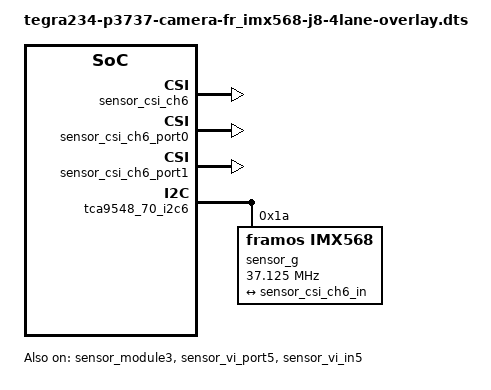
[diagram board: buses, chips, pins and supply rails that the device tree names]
// SPDX-License-Identifier: GPL-2.0
/*
 * Copyright (c) 2024 Framos. All rights reserved.
 *
 * tegra234-p3737-camera-fr_imx568-j8-4lane-overlay.dts - IMX412 sensor device tree
 */

/dts-v1/;
/plugin/;

#include <dt-bindings/clock/tegra234-clock.h>
#include <dt-bindings/gpio/tegra234-gpio.h>
#include <dt-bindings/tegra234-p3737-0000+p3701-0000.h>


/ {
	overlay-name = "Framos IMX568-J8-4Lane";
	jetson-header-name = "Jetson AGX CSI Connector";
	compatible = JETSON_COMPATIBLE;

	fragment@0 {
		target = <&sensor_module3>;
		__overlay__ {
			status = "okay";
			badge = "imx568_topright_framos";
			drivernode0 {
				status = "okay";
				/* Declare PCL support driver (classically known as guid) */
				devname = "imx568 15-001a";
				/* Declare the device-tree hierarchy to driver instance */
				sysfs-device-tree = "/sys/firmware/devicetree/base/bus@0/i2c@3180000/tca9548@70/i2c@6/imx568_g@1a";
			};
		};
	};

	fragment@1 {
		target = <&sensor_vi_port5>;
		__overlay__ {
			status = "okay";
		};
	};

	fragment@2 {
		target = <&sensor_vi_in5>;
		__overlay__ {
			status = "okay";
			bus-width = <4>;
		};
	};

	fragment@3 {
		target = <&sensor_csi_ch6>;
		__overlay__ {
			status = "okay";
			ports {
				status = "okay";
			};
		};
	};

	fragment@4 {
		target = <&sensor_csi_ch6_port0>;
		__overlay__ {
			status = "okay";
		};
	};

	fragment@5 {
		target = <&sensor_csi_ch6_in>;
		__overlay__ {
			status = "okay";
			bus-width = <4>;
			remote-endpoint = <&sensor_out_g>;
		};
	};

	fragment@6 {
		target = <&sensor_csi_ch6_port1>;
		__overlay__ {
			status = "okay";
		};
	};

	fragment@7 {
		target = <&sensor_csi_ch6_out>;
		__overlay__ {
			status = "okay";
		};
	};

	fragment@8 {
		target = <&tca9548_70_i2c6>;
		__overlay__ {
			sensor_g: imx568_g@1a {
				compatible = "framos,imx568";
				reg = <0x1a>;

				/* Define any required hw resources needed by driver */
				/* ie. clocks, io pins, power sources */
				clocks = <&bpmp TEGRA234_CLK_EXTPERIPH1>, <&bpmp TEGRA234_CLK_EXTPERIPH1>;
				clock-names = "extperiph1", "pllp_grtba";
				mclk = "extperiph1";
				clock-frequency = <37125000>;

				devnode = "video6";

				physical_w = "15.00";
				physical_h = "12.50";

				sensor_model ="imx568";

				/* Defines number of frames to be dropped by driver internally after applying */
				/* sensor crop settings. Some sensors send corrupt frames after applying */
				/* crop co-ordinates */
				post_crop_frame_drop = "0";

				/* Convert Gain to unit of dB (decibel) befor passing to kernel driver */
				use_decibel_gain = "true";

				/* if true, delay gain setting by one frame to be in sync with exposure */
				delayed_gain = "false";

				/* enable CID_SENSOR_MODE_ID for sensor modes selection */
				use_sensor_mode_id = "false";

				mode0 {
					mclk_khz = "37125";
					num_lanes = "4";
					tegra_sinterface = "serial_g";
					vc_id = "0";
					phy_mode = "DPHY";
					discontinuous_clk = "no";
					dpcm_enable = "false";
					cil_settletime = "0";
					active_w = "2472";
					active_h = "2064";

					dynamic_pixel_bit_depth = "12";
					csi_pixel_bit_depth = "12";
					mode_type = "bayer";
					pixel_phase = "rggb";

					readout_orientation = "0";
					line_length = "4512";
					inherent_gain = "1";
					pix_clk_hz = "475200000";
					serdes_pix_clk_hz = "12000000000";/* GMSL predefine */

					gain_factor = "10";
					min_gain_val = "0";/* 0dB */
					max_gain_val = "480";/* 48dB */
					step_gain_val = "1";/* 0.1 */
					default_gain = "0";
					min_hdr_ratio = "1";
					max_hdr_ratio = "1";
					framerate_factor = "1000000";
					min_framerate = "1500000";/* 1.5 */
					max_framerate = "67000000";/* 67 */
					step_framerate = "1";
					default_framerate= "67000000";
					exposure_factor = "1000000";
					min_exp_time = "10";/* us */
					step_exp_time = "1";
					max_exp_time = "660000";/* us */
					default_exp_time = "10000";/* us */
					embedded_metadata_height = "1";
				};
				mode1 {
					mclk_khz = "37125";
					num_lanes = "4";
					tegra_sinterface = "serial_g";
					vc_id = "0";
					phy_mode = "DPHY";
					discontinuous_clk = "no";
					dpcm_enable = "false";
					cil_settletime = "0";
					active_w = "1920";
					active_h = "1080";

					dynamic_pixel_bit_depth = "12";
					csi_pixel_bit_depth = "12";
					mode_type = "bayer";
					pixel_phase = "rggb";

					readout_orientation = "0";
					line_length = "4512";
					inherent_gain = "1";
					pix_clk_hz = "475200000";
					serdes_pix_clk_hz = "12000000000";/* GMSL predefine */

					gain_factor = "10";
					min_gain_val = "0";/* 0dB */
					max_gain_val = "480";/* 48dB */
					step_gain_val = "1";/* 0.1 */
					default_gain = "0";
					min_hdr_ratio = "1";
					max_hdr_ratio = "1";
					framerate_factor = "1000000";
					min_framerate = "1500000";/* 1.5 */
					max_framerate = "122000000";/* 122 */
					step_framerate = "1";
					default_framerate= "122000000";
					exposure_factor = "1000000";
					min_exp_time = "10";/* us */
					step_exp_time = "1";
					max_exp_time = "660000";/* us */
					default_exp_time = "10000";/* us */
					embedded_metadata_height = "1";
				};
				mode2 {
					mclk_khz = "37125";
					num_lanes = "4";
					tegra_sinterface = "serial_g";
					vc_id = "0";
					phy_mode = "DPHY";
					discontinuous_clk = "no";
					dpcm_enable = "false";
					cil_settletime = "0";
					active_w = "1280";
					active_h = "720";

					dynamic_pixel_bit_depth = "12";
					csi_pixel_bit_depth = "12";
					mode_type = "bayer";
					pixel_phase = "rggb";

					readout_orientation = "0";
					line_length = "4512";
					inherent_gain = "1";
					pix_clk_hz = "475200000";
					serdes_pix_clk_hz = "12000000000";/* GMSL predefine */

					gain_factor = "10";
					min_gain_val = "0";/* 0dB */
					max_gain_val = "480";/* 48dB */
					step_gain_val = "1";/* 0.1 */
					default_gain = "0";
					min_hdr_ratio = "1";
					max_hdr_ratio = "1";
					framerate_factor = "1000000";
					min_framerate = "1500000";/* 1.5 */
					max_framerate = "122000000";/* 122 */
					step_framerate = "1";
					default_framerate= "122000000";
					exposure_factor = "1000000";
					min_exp_time = "10";/* us */
					step_exp_time = "1";
					max_exp_time = "660000";/* us */
					default_exp_time = "10000";/* us */
					embedded_metadata_height = "1";
				};
				mode3 {
					mclk_khz = "37125";
					num_lanes = "4";
					tegra_sinterface = "serial_g";
					vc_id = "0";
					phy_mode = "DPHY";
					discontinuous_clk = "no";
					dpcm_enable = "false";
					cil_settletime = "0";
					active_w = "1236";
					active_h = "1032";

					dynamic_pixel_bit_depth = "12";
					csi_pixel_bit_depth = "12";
					mode_type = "bayer";
					pixel_phase = "rggb";

					readout_orientation = "0";
					line_length = "4512";
					inherent_gain = "1";
					pix_clk_hz = "475200000";
					serdes_pix_clk_hz = "12000000000";/* GMSL predefine */

					gain_factor = "10";
					min_gain_val = "0";/* 0dB */
					max_gain_val = "480";/* 48dB */
					step_gain_val = "1";/* 0.1 */
					default_gain = "0";
					min_hdr_ratio = "1";
					max_hdr_ratio = "1";
					framerate_factor = "1000000";
					min_framerate = "1500000";/* 1.5 */
					max_framerate = "233000000";/* 233 */
					step_framerate = "1";
					default_framerate= "233000000";
					exposure_factor = "1000000";
					min_exp_time = "7";/* us */
					step_exp_time = "1";
					max_exp_time = "660000";/* us */
					default_exp_time = "10000";/* us */
					embedded_metadata_height = "1";
				};
				mode4 {
					mclk_khz = "37125";
					num_lanes = "4";
					tegra_sinterface = "serial_g";
					vc_id = "0";
					phy_mode = "DPHY";
					discontinuous_clk = "no";
					dpcm_enable = "false";
					cil_settletime = "0";
					active_w = "2472";
					active_h = "2064";

					dynamic_pixel_bit_depth = "10";
					csi_pixel_bit_depth = "10";
					mode_type = "bayer";
					pixel_phase = "rggb";

					readout_orientation = "0";
					line_length = "4512";
					inherent_gain = "1";
					pix_clk_hz = "475200000";
					serdes_pix_clk_hz = "12000000000";/* GMSL predefine */

					gain_factor = "10";
					min_gain_val = "0";/* 0dB */
					max_gain_val = "480";/* 48dB */
					step_gain_val = "1";/* 0.1 */
					default_gain = "0";
					min_hdr_ratio = "1";
					max_hdr_ratio = "1";
					framerate_factor = "1000000";
					min_framerate = "1500000";/* 1.5 */
					max_framerate = "79000000";/* 79 */
					step_framerate = "1";
					default_framerate= "79000000";
					exposure_factor = "1000000";
					min_exp_time = "9";/* us */
					step_exp_time = "1";
					max_exp_time = "660000";/* us */
					default_exp_time = "10000";/* us */
					embedded_metadata_height = "1";
				};
				mode5 {
					mclk_khz = "37125";
					num_lanes = "4";
					tegra_sinterface = "serial_g";
					vc_id = "0";
					phy_mode = "DPHY";
					discontinuous_clk = "no";
					dpcm_enable = "false";
					cil_settletime = "0";
					active_w = "1920";
					active_h = "1080";

					dynamic_pixel_bit_depth = "10";
					csi_pixel_bit_depth = "10";
					mode_type = "bayer";
					pixel_phase = "rggb";

					readout_orientation = "0";
					line_length = "4512";
					inherent_gain = "1";
					pix_clk_hz = "475200000";
					serdes_pix_clk_hz = "12000000000";/* GMSL predefine */

					gain_factor = "10";
					min_gain_val = "0";/* 0dB */
					max_gain_val = "480";/* 48dB */
					step_gain_val = "1";/* 0.1 */
					default_gain = "0";
					min_hdr_ratio = "1";
					max_hdr_ratio = "1";
					framerate_factor = "1000000";
					min_framerate = "1500000";/* 1.5 */
					max_framerate = "143000000";/* 143 */
					step_framerate = "1";
					default_framerate= "143000000";
					exposure_factor = "1000000";
					min_exp_time = "9";/* us */
					step_exp_time = "1";
					max_exp_time = "660000";/* us */
					default_exp_time = "10000";/* us */
					embedded_metadata_height = "1";
				};
				mode6 {
					mclk_khz = "37125";
					num_lanes = "4";
					tegra_sinterface = "serial_g";
					vc_id = "0";
					phy_mode = "DPHY";
					discontinuous_clk = "no";
					dpcm_enable = "false";
					cil_settletime = "0";
					active_w = "1280";
					active_h = "720";

					dynamic_pixel_bit_depth = "10";
					csi_pixel_bit_depth = "10";
					mode_type = "bayer";
					pixel_phase = "rggb";

					readout_orientation = "0";
					line_length = "4512";
					inherent_gain = "1";
					pix_clk_hz = "475200000";
					serdes_pix_clk_hz = "12000000000";/* GMSL predefine */

					gain_factor = "10";
					min_gain_val = "0";/* 0dB */
					max_gain_val = "480";/* 48dB */
					step_gain_val = "1";/* 0.1 */
					default_gain = "0";
					min_hdr_ratio = "1";
					max_hdr_ratio = "1";
					framerate_factor = "1000000";
					min_framerate = "1500000";/* 1.5 */
					max_framerate = "143000000";/* 143 */
					step_framerate = "1";
					default_framerate= "143000000";
					exposure_factor = "1000000";
					min_exp_time = "9";/* us */
					step_exp_time = "1";
					max_exp_time = "660000";/* us */
					default_exp_time = "10000";/* us */
					embedded_metadata_height = "1";
				};
				mode7 {
					mclk_khz = "37125";
					num_lanes = "4";
					tegra_sinterface = "serial_g";
					vc_id = "0";
					phy_mode = "DPHY";
					discontinuous_clk = "no";
					dpcm_enable = "false";
					cil_settletime = "0";
					active_w = "1236";
					active_h = "1032";

					dynamic_pixel_bit_depth = "10";
					csi_pixel_bit_depth = "10";
					mode_type = "bayer";
					pixel_phase = "rggb";

					readout_orientation = "0";
					line_length = "4512";
					inherent_gain = "1";
					pix_clk_hz = "475200000";
					serdes_pix_clk_hz = "12000000000";/* GMSL predefine */

					gain_factor = "10";
					min_gain_val = "0";/* 0dB */
					max_gain_val = "480";/* 48dB */
					step_gain_val = "1";/* 0.1 */
					default_gain = "0";
					min_hdr_ratio = "1";
					max_hdr_ratio = "1";
					framerate_factor = "1000000";
					min_framerate = "1500000";/* 1.5 */
					max_framerate = "268000000";/* 268 */
					step_framerate = "1";
					default_framerate= "268000000";
					exposure_factor = "1000000";
					min_exp_time = "6";/* us */
					step_exp_time = "1";
					max_exp_time = "660000";/* us */
					default_exp_time = "10000";/* us */
					embedded_metadata_height = "1";
				};
				mode8 {
					mclk_khz = "37125";
					num_lanes = "4";
					tegra_sinterface = "serial_g";
					vc_id = "0";
					phy_mode = "DPHY";
					discontinuous_clk = "no";
					dpcm_enable = "false";
					cil_settletime = "0";
					active_w = "2472";
					active_h = "2064";

					dynamic_pixel_bit_depth = "8";
					csi_pixel_bit_depth = "8";
					mode_type = "bayer";
					pixel_phase = "rggb";

					readout_orientation = "0";
					line_length = "4512";
					inherent_gain = "1";
					pix_clk_hz = "475200000";
					serdes_pix_clk_hz = "12000000000";/* GMSL predefine */

					gain_factor = "10";
					min_gain_val = "0";/* 0dB */
					max_gain_val = "480";/* 48dB */
					step_gain_val = "1";/* 0.1 */
					default_gain = "0";
					min_hdr_ratio = "1";
					max_hdr_ratio = "1";
					framerate_factor = "1000000";
					min_framerate = "1500000";/* 1.5 */
					max_framerate = "96000000";/* 96 */
					step_framerate = "1";
					default_framerate= "96000000";
					exposure_factor = "1000000";
					min_exp_time = "8";/* us */
					step_exp_time = "1";
					max_exp_time = "660000";/* us */
					default_exp_time = "10000";/* us */
					embedded_metadata_height = "1";
				};
				mode9 {
					mclk_khz = "37125";
					num_lanes = "4";
					tegra_sinterface = "serial_g";
					vc_id = "0";
					phy_mode = "DPHY";
					discontinuous_clk = "no";
					dpcm_enable = "false";
					cil_settletime = "0";
					active_w = "1920";
					active_h = "1080";

					dynamic_pixel_bit_depth = "8";
					csi_pixel_bit_depth = "8";
					mode_type = "bayer";
					pixel_phase = "rggb";

					readout_orientation = "0";
					line_length = "4512";
					inherent_gain = "1";
					pix_clk_hz = "475200000";
					serdes_pix_clk_hz = "12000000000";/* GMSL predefine */

					gain_factor = "10";
					min_gain_val = "0";/* 0dB */
					max_gain_val = "480";/* 48dB */
					step_gain_val = "1";/* 0.1 */
					default_gain = "0";
					min_hdr_ratio = "1";
					max_hdr_ratio = "1";
					framerate_factor = "1000000";
					min_framerate = "1500000";/* 1.5 */
					max_framerate = "173000000";/* 173 */
					step_framerate = "1";
					default_framerate= "17300000";
					exposure_factor = "1000000";
					min_exp_time = "8";/* us */
					step_exp_time = "1";
					max_exp_time = "660000";/* us */
					default_exp_time = "10000";/* us */
					embedded_metadata_height = "1";
				};
				mode10 {
					mclk_khz = "37125";
					num_lanes = "4";
					tegra_sinterface = "serial_g";
					vc_id = "0";
					phy_mode = "DPHY";
					discontinuous_clk = "no";
					dpcm_enable = "false";
					cil_settletime = "0";
					active_w = "1280";
					active_h = "720";

					dynamic_pixel_bit_depth = "8";
					csi_pixel_bit_depth = "8";
					mode_type = "bayer";
					pixel_phase = "rggb";

					readout_orientation = "0";
					line_length = "4512";
					inherent_gain = "1";
					pix_clk_hz = "475200000";
					serdes_pix_clk_hz = "12000000000";/* GMSL predefine */

					gain_factor = "10";
					min_gain_val = "0";/* 0dB */
					max_gain_val = "480";/* 48dB */
					step_gain_val = "1";/* 0.1 */
					default_gain = "0";
					min_hdr_ratio = "1";
					max_hdr_ratio = "1";
					framerate_factor = "1000000";
					min_framerate = "1500000";/* 1.5 */
					max_framerate = "173000000";/* 173 */
					step_framerate = "1";
					default_framerate= "173000000";
					exposure_factor = "1000000";
					min_exp_time = "8";/* us */
					step_exp_time = "1";
					max_exp_time = "660000";/* us */
					default_exp_time = "10000";/* us */
					embedded_metadata_height = "1";
				};
				mode11 {
					mclk_khz = "37125";
					num_lanes = "4";
					tegra_sinterface = "serial_g";
					vc_id = "0";
					phy_mode = "DPHY";
					discontinuous_clk = "no";
					dpcm_enable = "false";
					cil_settletime = "0";
					active_w = "1236";
					active_h = "1032";

					dynamic_pixel_bit_depth = "8";
					csi_pixel_bit_depth = "8";
					mode_type = "bayer";
					pixel_phase = "rggb";

					readout_orientation = "0";
					line_length = "4512";
					inherent_gain = "1";
					pix_clk_hz = "475200000";
					serdes_pix_clk_hz = "12000000000";/* GMSL predefine */

					gain_factor = "10";
					min_gain_val = "0";/* 0dB */
					max_gain_val = "480";/* 48dB */
					step_gain_val = "1";/* 0.1 */
					default_gain = "0";
					min_hdr_ratio = "1";
					max_hdr_ratio = "1";
					framerate_factor = "1000000";
					min_framerate = "1500000";/* 1.5 */
					max_framerate = "316000000";/* 316 */
					step_framerate = "1";
					default_framerate= "316000000";
					exposure_factor = "1000000";
					min_exp_time = "6";/* us */
					step_exp_time = "1";
					max_exp_time = "660000";/* us */
					default_exp_time = "10000";/* us */
					embedded_metadata_height = "1";
				};

				ports {
					#address-cells = <1>;
					#size-cells = <0>;
					port@0 {
						reg = <0>;
						sensor_out_g: endpoint {
							vc-id = <0>;
							port-index = <6>;
							bus-width = <4>;
							remote-endpoint = <&sensor_csi_ch6_in>;
						};
					};
				};
			};
		};
	};

};
